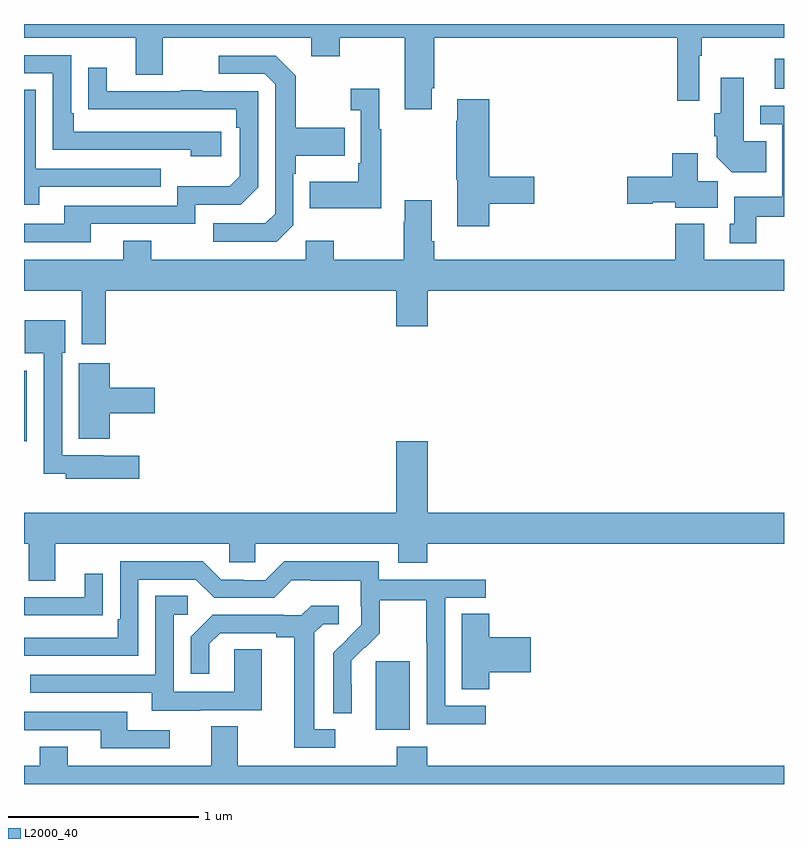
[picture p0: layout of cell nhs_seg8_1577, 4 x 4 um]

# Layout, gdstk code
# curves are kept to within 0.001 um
import gdstk
lib = gdstk.Library(unit=1e-6, precision=1e-09)
def R(c, l, rs):  # rectangles x0, y0, x1, y1
    for r in rs: c.add(gdstk.rectangle(r[:2], r[2:], *l))
def P(c, l, *ps):  # polygons
    for p in ps: c.add(gdstk.Polygon(p, *l))
L2000_40 = (2000, 40)

nhs_seg8_1577 = lib.new_cell('nhs_seg8_1577')
R(nhs_seg8_1577, L2000_40, [(212.852,1118.186,213.031,1118.547), (211,1119.705,211.015,1120.075), (214.95,1121.558,215,1121.716)])
P(nhs_seg8_1577, L2000_40, [(213.145,1121.563),(213.158,1121.563),(213.158,1121.828),(214.438,1121.828),(214.438,1121.496),(214.554,1121.496),(214.554,1121.732),(214.567,1121.732),(214.567,1121.828),(215,1121.828),(215,1121.9),(211,1121.9),(211,1121.828),(211.589,1121.828),(211.589,1121.634),(211.729,1121.634),(211.729,1121.828),(212.513,1121.828),(212.513,1121.729),(212.661,1121.729),(212.661,1121.828),(213.005,1121.828),(213.005,1121.451),(213.145,1121.451)],
  [(212.038,1121.334),(211.261,1121.334),(211.261,1121.431),(211.248,1121.431),(211.248,1121.736),(211,1121.736),(211,1121.64),(211.152,1121.64),(211.152,1121.238),(211.877,1121.238),(211.877,1121.204),(212.038,1121.204)],
  [(212.418,1120.842),(212.418,1121.111),(212.431,1121.111),(212.431,1121.207),(212.687,1121.207),(212.687,1121.355),(212.431,1121.355),(212.431,1121.627),(212.325,1121.733),(212.025,1121.733),(212.025,1121.637),(212.268,1121.637),(212.322,1121.583),(212.322,1120.902),(212.271,1120.851),(211.995,1120.851),(211.995,1120.755),(212.331,1120.755)],
  [(211.351,1120.848),(211.902,1120.848),(211.902,1120.95),(212.142,1120.95),(212.232,1121.04),(212.232,1121.547),(211.937,1121.547),(211.937,1121.552),(211.825,1121.552),(211.825,1121.547),(211.435,1121.547),(211.435,1121.671),(211.339,1121.671),(211.339,1121.452),(212.116,1121.451),(212.116,1121.354),(212.136,1121.354),(212.136,1121.1),(212.083,1121.047),(211.806,1121.047),(211.806,1120.944),(211.211,1120.944),(211.211,1120.848),(211,1120.848),(211,1120.752),(211.351,1120.752)],
  [(214.907,1121.284),(214.789,1121.284),(214.789,1121.617),(214.667,1121.617),(214.667,1121.43),(214.634,1121.43),(214.634,1121.308),(214.646,1121.308),(214.646,1121.198),(214.724,1121.12),(214.907,1121.12)],
  [(212.881,1121.347),(212.869,1121.347),(212.869,1121.56),(212.721,1121.56),(212.721,1121.447),(212.772,1121.447),(212.772,1121.167),(212.76,1121.167),(212.76,1121.071),(212.503,1121.071),(212.503,1120.931),(212.881,1120.931)],
  [(211.081,1121.043),(211.721,1121.043),(211.721,1121.139),(211.062,1121.139),(211.062,1121.555),(211,1121.555),(211,1120.949),(211.081,1120.949)],
  [(213.449,1120.954),(213.685,1120.954),(213.685,1121.096),(213.449,1121.096),(213.449,1121.503),(213.281,1121.503),(213.281,1121.39),(213.274,1121.39),(213.274,1121.079),(213.281,1121.079),(213.281,1120.836),(213.449,1120.836)],
  [(214.855,1120.886),(215,1120.886),(215,1121.469),(214.875,1121.469),(214.875,1121.373),(214.992,1121.373),(214.992,1120.99),(214.739,1120.99),(214.739,1120.848),(214.715,1120.848),(214.715,1120.746),(214.855,1120.746)],
  [(214.651,1121.072),(214.546,1121.072),(214.546,1121.221),(214.412,1121.221),(214.412,1121.096),(214.176,1121.096),(214.176,1120.954),(214.308,1120.954),(214.308,1120.961),(214.428,1120.961),(214.428,1120.934),(214.651,1120.934)],
  [(211.43,1120.496),(212.96,1120.496),(212.96,1120.308),(213.124,1120.308),(213.124,1120.496),(215,1120.496),(215,1120.66),(214.579,1120.66),(214.579,1120.849),(214.427,1120.849),(214.427,1120.66),(213.158,1120.66),(213.158,1120.756),(213.145,1120.756),(213.145,1120.972),(213.005,1120.972),(213.005,1120.859),(212.998,1120.859),(212.998,1120.66),(212.631,1120.66),(212.631,1120.759),(212.484,1120.759),(212.484,1120.66),(211.671,1120.66),(211.671,1120.759),(211.523,1120.759),(211.523,1120.66),(211,1120.66),(211,1120.496),(211.304,1120.496),(211.304,1120.215),(211.43,1120.215)],
  [(211.606,1119.628),(211.416,1119.628),(211.416,1119.63),(211.2,1119.63),(211.2,1120.17),(211.216,1120.17),(211.216,1120.342),(211.004,1120.342),(211.004,1120.166),(211.104,1120.166),(211.104,1119.533),(211.221,1119.533),(211.221,1119.506),(211.606,1119.506)],
  [(211.451,1119.851),(211.687,1119.851),(211.687,1119.986),(211.451,1119.986),(211.451,1120.114),(211.289,1120.114),(211.289,1119.716),(211.451,1119.716)],
  [(211.165,1119.164),(212.079,1119.164),(212.079,1119.066),(212.217,1119.066),(212.217,1119.164),(212.969,1119.164),(212.969,1119.065),(213.122,1119.065),(213.122,1119.164),(215,1119.164),(215,1119.328),(213.124,1119.328),(213.124,1119.703),(212.96,1119.703),(212.96,1119.328),(211,1119.328),(211,1119.164),(211.025,1119.164),(211.025,1118.97),(211.165,1118.97)],
  [(213.43,1118.313),(213.216,1118.313),(213.216,1118.88),(213.43,1118.88),(213.43,1118.976),(212.868,1118.976),(212.868,1119.073),(212.371,1119.073),(212.271,1118.973),(212.156,1118.973),(212.156,1118.976),(212.037,1118.976),(211.941,1119.072),(211.506,1119.072),(211.506,1118.767),(211.493,1118.767),(211.493,1118.67),(211,1118.67),(211,1118.574),(211.602,1118.574),(211.602,1118.976),(211.905,1118.976),(212.001,1118.88),(212.316,1118.88),(212.409,1118.973),(212.509,1118.973),(212.509,1118.969),(212.772,1118.969),(212.772,1118.835),(212.774,1118.835),(212.774,1118.738),(212.628,1118.59),(212.628,1118.272),(212.724,1118.272),(212.723,1118.549),(212.793,1118.619),(212.796,1118.616),(212.873,1118.693),(212.873,1118.868),(213.118,1118.868),(213.118,1118.644),(213.12,1118.644),(213.12,1118.215),(213.43,1118.215)],
  [(211.313,1118.788),(211.415,1118.788),(211.415,1119.007),(211.319,1119.007),(211.319,1118.883),(211,1118.883),(211,1118.787),(211.313,1118.787)],
  [(211.927,1118.289),(212.251,1118.289),(212.251,1118.609),(212.106,1118.609),(212.106,1118.385),(211.788,1118.385),(211.788,1118.79),(211.861,1118.79),(211.861,1118.891),(211.692,1118.891),(211.692,1118.475),(211.033,1118.475),(211.033,1118.379),(211.673,1118.379),(211.673,1118.285),(211.927,1118.285)],
  [(212.638,1118.187),(212.527,1118.187),(212.527,1118.695),(212.574,1118.742),(212.656,1118.742),(212.656,1118.839),(212.512,1118.839),(212.46,1118.787),(212.366,1118.787),(212.366,1118.79),(211.994,1118.79),(211.878,1118.674),(211.878,1118.481),(211.975,1118.481),(211.975,1118.637),(212.032,1118.694),(212.327,1118.694),(212.327,1118.672),(212.423,1118.672),(212.423,1118.091),(212.638,1118.091)],
  [(213.449,1118.489),(213.667,1118.489),(213.667,1118.672),(213.449,1118.672),(213.449,1118.795),(213.305,1118.795),(213.305,1118.398),(213.449,1118.398)],
  [(211.768,1118.184),(211.543,1118.184),(211.543,1118.28),(211,1118.28),(211,1118.184),(211.403,1118.184),(211.403,1118.088),(211.768,1118.088)],
  [(215,1117.996),(213.122,1117.996),(213.122,1118.095),(212.962,1118.095),(212.962,1117.996),(212.125,1117.996),(212.125,1118.204),(211.985,1118.204),(211.985,1117.996),(211.231,1117.996),(211.231,1118.095),(211.084,1118.095),(211.084,1117.996),(211,1117.996),(211,1117.9),(215,1117.9)])

lib.write_gds('nhs_seg8_1577.gds')
